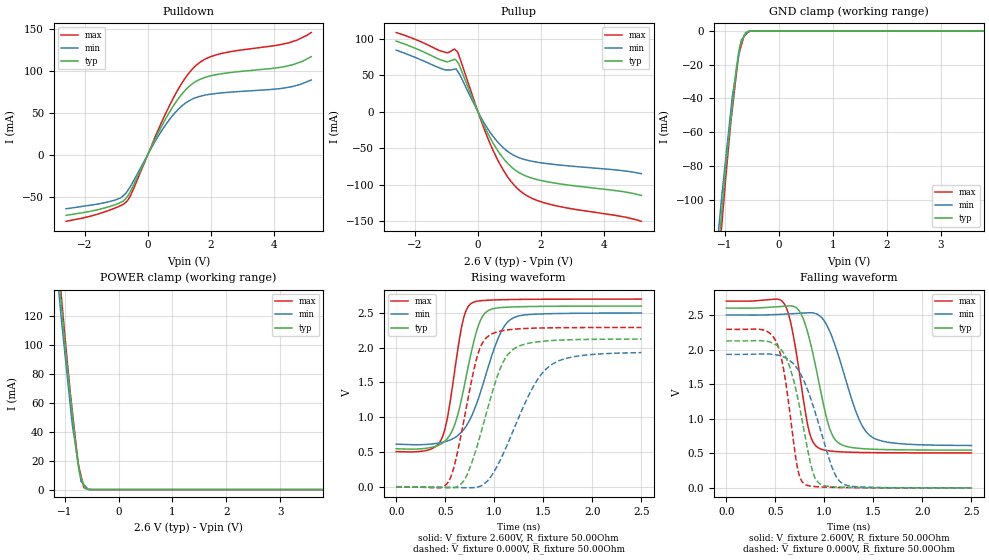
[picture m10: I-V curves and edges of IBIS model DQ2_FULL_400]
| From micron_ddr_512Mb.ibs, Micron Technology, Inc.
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|   MODEL DQ2_FULL_400
[Model]   DQ2_FULL_400
Model_type   I/O
Vinl = 0.990V
Vinh = 1.610V
Vmeas = 1.300V
Vref = 1.300V
Cref = 30.000pF
Rref = 50.000Ohm
|   typ   min   max
C_comp   3.30pF   3.15pF   3.45pF
[Model Spec]
| Input threshold voltage corners
Vinh   1.610V   1.560V   1.660V
Vinl   0.990V   0.940V   1.040V
| Measurement voltage corners
Vmeas   1.300V   1.250V   1.350V
| Timing spec test load voltage corners
Vref   1.300V   1.250V   1.350V
| Overshoot/Undershoot
S_overshoot_high   2.900V   2.800V   3.000V
S_overshoot_low   -0.300V   -0.300V   -0.300V
D_overshoot_high   4.100V   4.000V   4.200V
D_overshoot_low   -1.500V   -1.500V   -1.500V
D_overshoot_time   1.667n   1.667n   1.667n
[Receiver Thresholds]
Vth   =  1.300V
Vth_min  =  1.274V
Vth_max  =  1.326V
Vinh_ac  =  0.310V
Vinh_dc  =  0.150V
Vinl_ac  = -0.310V
Vinl_dc  = -0.150V
Tslew_ac =  10.000ns |Not specified, so set to high value
Threshold_sensitivity = 0.50
Reference_supply Pullup_ref
[Voltage Range]   2.600V   2.500V   2.700V
[Pullup Reference]   2.600V   2.500V   2.700V
| Junction Temperature (Ambient temp is 25C typ, 70C min, 0C max)
[Temperature Range]   40.0   85.0   0.0
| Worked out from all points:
|   slope of the pulldown table from 0 to 0.39 V, typ, clamps not added: 12.9 ohm
|   slope of the pullup table from 0 to 0.39 V, typ, clamps not added: 10.9 ohm
|   GND clamp passes 1 mA (typ) near -0.61 V on its own axis
|   POWER clamp passes 1 mA (typ) near -0.62 V on its own axis
|   falling waveform, V_fixture 2.600V, R_fixture 50.00Ohm: 20-80 % time 192ps typ, 260ps min, 150ps max; typ from 2.6 V to 0.546 V
|   rising waveform, V_fixture 2.600V, R_fixture 50.00Ohm: 20-80 % time 198ps typ, 276ps min, 147ps max; typ from 0.546 V to 2.6 V
|   rising waveform, V_fixture 0.000V, R_fixture 50.00Ohm: 20-80 % time 271ps typ, 380ps min, 199ps max; typ from 0 V to 2.12 V
|   falling waveform, V_fixture 0.000V, R_fixture 50.00Ohm: 20-80 % time 190ps typ, 264ps min, 138ps max; typ from 2.12 V to 0 V
[Pulldown]
|   Voltage   I(typ)   I(min)   I(max)
-2.6V     -72.35mA   -64.58mA   -79.46mA
-1.055V   -59.91mA   -54.39mA   -63.81mA
-860mV    -56.81mA   -51.46mA   -60.79mA
-645mV    -49.68mA   -43.27mA   -54.79mA
-440mV    -35.27mA   -30.37mA   -39.59mA
235mV     18.61mA    15.76mA    21.09mA
660mV     48.58mA    40.2mA     56.03mA
1.125V    73.78mA    59.12mA    87.41mA
1.595V    88.34mA    68.61mA    108mA
2.37V     96.33mA    73.47mA    120.5mA
4.37V     104.8mA    79.36mA    132mA
5.2V      116.5mA    88.75mA    145.2mA
[GND Clamp]
|   Voltage   I(typ)   I(min)   I(max)
-2.6V     -701.1mA   -665.4mA   -738.2mA
-1.225V   -166.1mA   -154.8mA   -178mA
-1.055V   -106mA     -97mA      -113.9mA
-980mV    -79.51mA   -74.48mA   -85.68mA
-885mV    -51.22mA   -45.97mA   -52.93mA
-860mV    -43.79mA   -38.46mA   -45.95mA
-785mV    -21.57mA   -23.35mA   -25.01mA
-750mV    -13.98mA   -16.32mA   -15.24mA
-695mV    -6.683mA   -5.419mA   -8.631mA
-645mV    -3.097mA   -3.446mA   -3.082mA
-565mV    -499.4uA   -289.2uA   -795.9uA
5.2V      0A         0A         0A
[Pullup]
|   Voltage   I(typ)   I(min)   I(max)
-2.6V     96.87mA    84.48mA    108.6mA
-1.235V   71.88mA    60.3mA     83.99mA
-980mV    68.22mA    57.36mA    80.8mA
-745mV    71.8mA     58.38mA    85.91mA
-645mV    67.87mA    55.36mA    81.79mA
75mV      -7.551mA   -6.068mA   -9.175mA
490mV     -43.58mA   -34.26mA   -53.72mA
935mV     -70.28mA   -54mA      -88.72mA
1.395V    -85.61mA   -64.4mA    -110.4mA
1.825V    -92.46mA   -68.8mA    -120.7mA
2.37V     -97.35mA   -72.05mA   -127.9mA
5.2V      -114.8mA   -85mA      -150.3mA
[POWER Clamp]
|   Voltage   I(typ)   I(min)   I(max)
-2.6V     793.4mA    770mA      815mA
-1.225V   193.8mA    183.6mA    201.5mA
-1.055V   125.5mA    115.9mA    131.1mA
-980mV    95.36mA    88.79mA    100.2mA
-860mV    53.27mA    45.48mA    55.12mA
-785mV    27.08mA    27.26mA    30.25mA
-750mV    17.62mA    18.79mA    18.64mA
-695mV    8.142mA    5.66mA     9.479mA
-645mV    3.418mA    3.562mA    1.633mA
-615mV    746.2uA    2.303mA    989uA
-460mV    3.845uA    5.166uA    1.926uA
5.2V      0A         0A         0A
[Ramp]
R_load = 50.00Ohm
|   typ   min   max
dV/dt_r   1.275V/270.734ps   1.158V/380.379ps   1.375V/199.173ps
dV/dt_f   1.232V/191.872ps   1.133V/259.724ps   1.317V/149.745ps
[Falling Waveform]
V_fixture = 2.600V
V_fixture_min = 2.500V
V_fixture_max = 2.700V
R_fixture = 50.00Ohm
|   Time   V(typ)   V(min)   V(max)
0s        2.6V       2.5V       2.7V
600ps     2.627V     2.513V     2.64V
670ps     2.629V     2.518V     2.299V
770ps     2.492V     2.526V     1.43V
850ps     2.137V     2.532V     787mV
940ps     1.554V     2.501V     577.9mV
1.11ns    695.7mV    2.056V     525.6mV
1.35ns    571.4mV    1V         512.4mV
1.47ns    560.5mV    750.5mV    510mV
2.5ns     545.9mV    612.4mV    505.6mV
[Rising Waveform]
V_fixture = 2.600V
V_fixture_min = 2.500V
V_fixture_max = 2.700V
R_fixture = 50.00Ohm
|   Time   V(typ)   V(min)   V(max)
0s        545.9mV    612.4mV    505.6mV
460ps     617.3mV    636.3mV    680.5mV
520ps     689.8mV    658.6mV    976.2mV
600ps     906.9mV    709.6mV    1.707V
690ps     1.42V      824.3mV    2.44V
770ps     1.964V     1.021V     2.643V
910ps     2.505V     1.592V     2.682V
1.05ns    2.576V     2.171V     2.69V
1.17ns    2.586V     2.41V      2.694V
2.5ns     2.6V       2.5V       2.7V
[Rising Waveform]
V_fixture = 0.000V
V_fixture_min = 0.000V
V_fixture_max = 0.000V
R_fixture = 50.00Ohm
|   Time   V(typ)   V(min)   V(max)
0s        28.15uV    14.03uV    -52.21uV
540ps     -15.49mV   -8.89mV    89.41mV
600ps     -9.229mV   -10.74mV   344.3mV
720ps     163.9mV    -14.69mV   1.176V
840ps     656.4mV    -526.6uV   1.938V
950ps     1.215V     117.5mV    2.179V
1.14ns    1.906V     630mV      2.258V
1.37ns    2.07V      1.368V     2.281V
1.54ns    2.1V       1.709V     2.286V
2.5ns     2.125V     1.93V      2.292V
[Falling Waveform]
V_fixture = 0.000V
V_fixture_min = 0.000V
V_fixture_max = 0.000V
R_fixture = 50.00Ohm
|   Time   V(typ)   V(min)   V(max)
0s        2.125V     1.93V      2.292V
500ps     2.073V     1.926V     2.136V
570ps     1.979V     1.9V       1.819V
650ps     1.734V     1.836V     1.063V
730ps     1.288V     1.711V     258mV
800ps     771.5mV    1.519V     53.19mV
920ps     107mV      1.026V     16.75mV
1.07ns    17.53mV    327.9mV    8.307mV
1.17ns    10.56mV    76.95mV    5.462mV
2.5ns     28.15uV    14.03uV    -52.21uV
